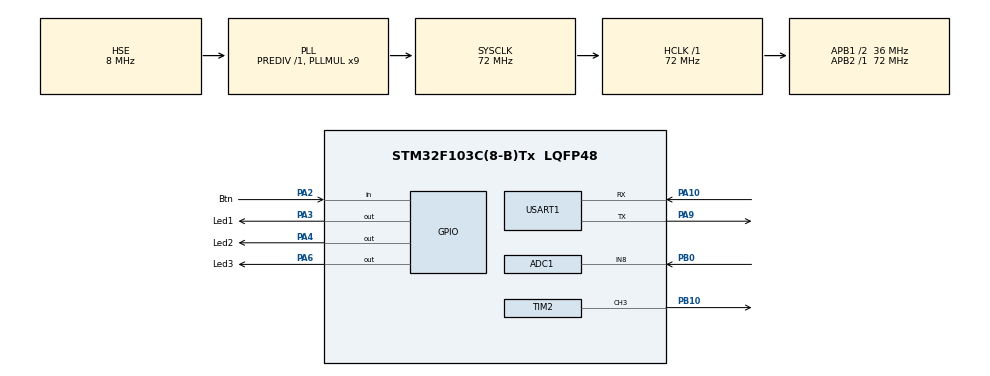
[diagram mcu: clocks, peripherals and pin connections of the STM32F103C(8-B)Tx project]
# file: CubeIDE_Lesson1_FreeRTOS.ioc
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ADC1.Channel-1\#ChannelRegularConversion=ADC_CHANNEL_8
ADC1.ContinuousConvMode=ENABLE
ADC1.NbrOfConversionFlag=1
ADC1.Rank-1\#ChannelRegularConversion=1
ADC1.SamplingTime-1\#ChannelRegularConversion=ADC_SAMPLETIME_1CYCLE_5
ADC1.master=1
FREERTOS.BinarySemaphores01=BtnSem,Static,BtnSemControlBlock
FREERTOS.Queues01=Uart_Queue,10,QUEUE_t,0,Static,Uart_QueueBuffer,Uart_QueueControlBlock
FREERTOS.Tasks01=defaultTask,24,128,StartDefaultTask,Default,NULL,Static,defaultTaskBuffer,defaultTaskControlBlock;Led1_Task,8,128,StartLed1_Task,Default,NULL,Static,Led1_TaskBuffer,Led1_TaskControlBlock;Led2_Task,8,128,StartLed2_Task,Default,NULL,Static,Led2_TaskBuffer,Led2_TaskControlBlock;ReadBtn_Task,8,128,StartReadBtn_Task,Default,NULL,Static,ReadBtn_TaskBuffer,ReadBtn_TaskControlBlock;Led3_Task,8,128,StartLed3_Task,Default,NULL,Static,Led3_TaskBuffer,Led3_TaskControlBlock;ADC_Task,8,128,StartADC_Task,Default,NULL,Static,ADC_TaskBuffer,ADC_TaskControlBlock;UART_Task,8,128,StartUART_Task,Default,NULL,Static,UART_TaskBuffer,UART_TaskControlBlock
Mcu.Family=STM32F1
Mcu.Name=STM32F103C(8-B)Tx
Mcu.Package=LQFP48
NVIC.PriorityGroup=NVIC_PRIORITYGROUP_4
NVIC.TIM1_UP_IRQn=true\:15\:0\:false\:false\:true\:false\:false\:true\:true
NVIC.TimeBase=TIM1_UP_IRQn
NVIC.TimeBaseIP=TIM1
PA10.Mode=Asynchronous
PA10.Signal=USART1_RX
PA13.Mode=Serial_Wire
PA13.Signal=SYS_JTMS-SWDIO
PA14.Mode=Serial_Wire
PA14.Signal=SYS_JTCK-SWCLK
PA2.GPIO_Label=Btn
PA2.Signal=GPIO_Input
PA3.GPIO_Label=Led1
PA3.Signal=GPIO_Output
PA4.GPIO_Label=Led2
PA4.Signal=GPIO_Output
PA6.GPIO_Label=Led3
PA6.Signal=GPIO_Output
PA9.Mode=Asynchronous
PA9.Signal=USART1_TX
PB0.Signal=ADCx_IN8
PB10.Signal=S_TIM2_CH3
PD0-OSC_IN.Mode=HSE-External-Oscillator
PD0-OSC_IN.Signal=RCC_OSC_IN
PD1-OSC_OUT.Mode=HSE-External-Oscillator
PD1-OSC_OUT.Signal=RCC_OSC_OUT
ProjectManager.HeapSize=0x200
ProjectManager.StackSize=0x400
ProjectManager.TargetToolchain=STM32CubeIDE
RCC.ADCPresc=RCC_ADCPCLK2_DIV6
RCC.AHBFreq_Value=72000000
RCC.APB1CLKDivider=RCC_HCLK_DIV2
RCC.APB1Freq_Value=36000000
RCC.APB1TimFreq_Value=72000000
RCC.APB2Freq_Value=72000000
RCC.APB2TimFreq_Value=72000000
RCC.HCLKFreq_Value=72000000
RCC.PLLMUL=RCC_PLL_MUL9
RCC.PLLSourceVirtual=RCC_PLLSOURCE_HSE
RCC.SYSCLKFreq_VALUE=72000000
RCC.SYSCLKSource=RCC_SYSCLKSOURCE_PLLCLK
RCC.USBFreq_Value=72000000
SH.ADCx_IN8.0=ADC1_IN8,IN8
SH.S_TIM2_CH3.0=TIM2_CH3,PWM Generation3 CH3
TIM2.Channel-PWM\ Generation3\ CH3=TIM_CHANNEL_3
TIM2.Period=4095
TIM2.Prescaler=300
USART1.VirtualMode=VM_ASYNC
VP_FREERTOS_VS_CMSIS_V2.Mode=CMSIS_V2
VP_SYS_VS_tim1.Mode=TIM1
board=custom

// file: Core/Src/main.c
/* USER CODE BEGIN Header */
/**
  ******************************************************************************
  * @file           : main.c
  * @brief          : Main program body
  ******************************************************************************
  * @attention
  *
  * Copyright (c) 2023 STMicroelectronics.
  * All rights reserved.
  *
  * This software is licensed under terms that can be found in the LICENSE file
  * in the root directory of this software component.
  * If no LICENSE file comes with this software, it is provided AS-IS.
  *
  ******************************************************************************
  */
/* USER CODE END Header */
#include "main.h"
#include "cmsis_os.h"

/* USER CODE BEGIN Includes */
#include "string.h"
/* USER CODE END Includes */

typedef StaticTask_t osStaticThreadDef_t;
typedef StaticQueue_t osStaticMessageQDef_t;
typedef StaticSemaphore_t osStaticSemaphoreDef_t;
/* USER CODE BEGIN PTD */

//Создаем наш тип данных для передачи по UART
typedef struct {
	char Buf[128];
	} QUEUE_t;

/* USER CODE END PTD */

ADC_HandleTypeDef hadc1;

TIM_HandleTypeDef htim2;

UART_HandleTypeDef huart1;

/* Definitions for defaultTask */
osThreadId_t defaultTaskHandle;
uint32_t defaultTaskBuffer[ 128 ];
osStaticThreadDef_t defaultTaskControlBlock;
const osThreadAttr_t defaultTask_attributes = {
  .name = "defaultTask",
  .cb_mem = &defaultTaskControlBlock,
  .cb_size = sizeof(defaultTaskControlBlock),
  .stack_mem = &defaultTaskBuffer[0],
  .stack_size = sizeof(defaultTaskBuffer),
  .priority = (osPriority_t) osPriorityNormal,
};
/* Definitions for Led1_Task */
osThreadId_t Led1_TaskHandle;
uint32_t Led1_TaskBuffer[ 128 ];
osStaticThreadDef_t Led1_TaskControlBlock;
const osThreadAttr_t Led1_Task_attributes = {
  .name = "Led1_Task",
  .cb_mem = &Led1_TaskControlBlock,
  .cb_size = sizeof(Led1_TaskControlBlock),
  .stack_mem = &Led1_TaskBuffer[0],
  .stack_size = sizeof(Led1_TaskBuffer),
  .priority = (osPriority_t) osPriorityLow,
};
/* Definitions for Led2_Task */
osThreadId_t Led2_TaskHandle;
uint32_t Led2_TaskBuffer[ 128 ];
osStaticThreadDef_t Led2_TaskControlBlock;
const osThreadAttr_t Led2_Task_attributes = {
  .name = "Led2_Task",
  .cb_mem = &Led2_TaskControlBlock,
  .cb_size = sizeof(Led2_TaskControlBlock),
  .stack_mem = &Led2_TaskBuffer[0],
  .stack_size = sizeof(Led2_TaskBuffer),
  .priority = (osPriority_t) osPriorityLow,
};
/* Definitions for ReadBtn_Task */
osThreadId_t ReadBtn_TaskHandle;
uint32_t ReadBtn_TaskBuffer[ 128 ];
osStaticThreadDef_t ReadBtn_TaskControlBlock;
const osThreadAttr_t ReadBtn_Task_attributes = {
  .name = "ReadBtn_Task",
  .cb_mem = &ReadBtn_TaskControlBlock,
  .cb_size = sizeof(ReadBtn_TaskControlBlock),
  .stack_mem = &ReadBtn_TaskBuffer[0],
  .stack_size = sizeof(ReadBtn_TaskBuffer),
  .priority = (osPriority_t) osPriorityLow,
};
/* Definitions for Led3_Task */
osThreadId_t Led3_TaskHandle;
uint32_t Led3_TaskBuffer[ 128 ];
osStaticThreadDef_t Led3_TaskControlBlock;
const osThreadAttr_t Led3_Task_attributes = {
  .name = "Led3_Task",
  .cb_mem = &Led3_TaskControlBlock,
  .cb_size = sizeof(Led3_TaskControlBlock),
  .stack_mem = &Led3_TaskBuffer[0],
  .stack_size = sizeof(Led3_TaskBuffer),
  .priority = (osPriority_t) osPriorityLow,
};
/* Definitions for ADC_Task */
osThreadId_t ADC_TaskHandle;
uint32_t ADC_TaskBuffer[ 128 ];
osStaticThreadDef_t ADC_TaskControlBlock;
const osThreadAttr_t ADC_Task_attributes = {
  .name = "ADC_Task",
  .cb_mem = &ADC_TaskControlBlock,
  .cb_size = sizeof(ADC_TaskControlBlock),
  .stack_mem = &ADC_TaskBuffer[0],
  .stack_size = sizeof(ADC_TaskBuffer),
  .priority = (osPriority_t) osPriorityLow,
};
/* Definitions for UART_Task */
osThreadId_t UART_TaskHandle;
uint32_t UART_TaskBuffer[ 128 ];
osStaticThreadDef_t UART_TaskControlBlock;
const osThreadAttr_t UART_Task_attributes = {
  .name = "UART_Task",
  .cb_mem = &UART_TaskControlBlock,
  .cb_size = sizeof(UART_TaskControlBlock),
  .stack_mem = &UART_TaskBuffer[0],
  .stack_size = sizeof(UART_TaskBuffer),
  .priority = (osPriority_t) osPriorityLow,
};
/* Definitions for Uart_Queue */
osMessageQueueId_t Uart_QueueHandle;
uint8_t Uart_QueueBuffer[ 10 * sizeof( QUEUE_t ) ];
osStaticMessageQDef_t Uart_QueueControlBlock;
const osMessageQueueAttr_t Uart_Queue_attributes = {
  .name = "Uart_Queue",
  .cb_mem = &Uart_QueueControlBlock,
  .cb_size = sizeof(Uart_QueueControlBlock),
  .mq_mem = &Uart_QueueBuffer,
  .mq_size = sizeof(Uart_QueueBuffer)
};
/* Definitions for BtnSem */
osSemaphoreId_t BtnSemHandle;
osStaticSemaphoreDef_t BtnSemControlBlock;
const osSemaphoreAttr_t BtnSem_attributes = {
  .name = "BtnSem",
  .cb_mem = &BtnSemControlBlock,
  .cb_size = sizeof(BtnSemControlBlock),
};

void SystemClock_Config(void);
static void MX_GPIO_Init(void);
static void MX_TIM2_Init(void);
static void MX_USART1_UART_Init(void);
static void MX_ADC1_Init(void);
void StartDefaultTask(void *argument);
void StartLed1_Task(void *argument);
void StartLed2_Task(void *argument);
void StartReadBtn_Task(void *argument);
void StartLed3_Task(void *argument);
void StartADC_Task(void *argument);
void StartUART_Task(void *argument);

int main(void)
{

  /* MCU Configuration--------------------------------------------------------*/

  /* Reset of all peripherals, Initializes the Flash interface and the Systick. */
  HAL_Init();

  /* Configure the system clock */
  SystemClock_Config();

  /* Initialize all configured peripherals */
  MX_GPIO_Init();
  MX_TIM2_Init();
  MX_USART1_UART_Init();
  MX_ADC1_Init();
  /* USER CODE BEGIN 2 */

  HAL_ADC_Start(&hadc1);
  HAL_TIM_PWM_Start(&htim2, TIM_CHANNEL_3);
  /* USER CODE END 2 */

  /* Init scheduler */
  osKernelInitialize();

  /* Create the semaphores(s) */
  /* creation of BtnSem */
  BtnSemHandle = osSemaphoreNew(1, 0, &BtnSem_attributes);

  /* Create the queue(s) */
  /* creation of Uart_Queue */
  Uart_QueueHandle = osMessageQueueNew (10, sizeof(QUEUE_t), &Uart_Queue_attributes);

  /* Create the thread(s) */
  /* creation of defaultTask */
  defaultTaskHandle = osThreadNew(StartDefaultTask, NULL, &defaultTask_attributes);

  /* creation of Led1_Task */
  Led1_TaskHandle = osThreadNew(StartLed1_Task, NULL, &Led1_Task_attributes);

  /* creation of Led2_Task */
  Led2_TaskHandle = osThreadNew(StartLed2_Task, NULL, &Led2_Task_attributes);

  /* creation of ReadBtn_Task */
  ReadBtn_TaskHandle = osThreadNew(StartReadBtn_Task, NULL, &ReadBtn_Task_attributes);

  /* creation of Led3_Task */
  Led3_TaskHandle = osThreadNew(StartLed3_Task, NULL, &Led3_Task_attributes);

  /* creation of ADC_Task */
  ADC_TaskHandle = osThreadNew(StartADC_Task, NULL, &ADC_Task_attributes);

  /* creation of UART_Task */
  UART_TaskHandle = osThreadNew(StartUART_Task, NULL, &UART_Task_attributes);

  /* Start scheduler */
  osKernelStart();
  /* We should never get here as control is now taken by the scheduler */
  /* Infinite loop */
  while (1)
  {

  }
}

void SystemClock_Config(void)
{
  RCC_OscInitTypeDef RCC_OscInitStruct = {0};
  RCC_ClkInitTypeDef RCC_ClkInitStruct = {0};
  RCC_PeriphCLKInitTypeDef PeriphClkInit = {0};

  /** Initializes the RCC Oscillators according to the specified parameters
  * in the RCC_OscInitTypeDef structure.
  */
  RCC_OscInitStruct.OscillatorType = RCC_OSCILLATORTYPE_HSE;
  RCC_OscInitStruct.HSEState = RCC_HSE_ON;
  RCC_OscInitStruct.HSEPredivValue = RCC_HSE_PREDIV_DIV1;
  RCC_OscInitStruct.HSIState = RCC_HSI_ON;
  RCC_OscInitStruct.PLL.PLLState = RCC_PLL_ON;
  RCC_OscInitStruct.PLL.PLLSource = RCC_PLLSOURCE_HSE;
  RCC_OscInitStruct.PLL.PLLMUL = RCC_PLL_MUL9;
  if (HAL_RCC_OscConfig(&RCC_OscInitStruct) != HAL_OK)
  {
    Error_Handler();
  }

  /** Initializes the CPU, AHB and APB buses clocks
  */
  RCC_ClkInitStruct.ClockType = RCC_CLOCKTYPE_HCLK|RCC_CLOCKTYPE_SYSCLK
                              |RCC_CLOCKTYPE_PCLK1|RCC_CLOCKTYPE_PCLK2;
  RCC_ClkInitStruct.SYSCLKSource = RCC_SYSCLKSOURCE_PLLCLK;
  RCC_ClkInitStruct.AHBCLKDivider = RCC_SYSCLK_DIV1;
  RCC_ClkInitStruct.APB1CLKDivider = RCC_HCLK_DIV2;
  RCC_ClkInitStruct.APB2CLKDivider = RCC_HCLK_DIV1;

  if (HAL_RCC_ClockConfig(&RCC_ClkInitStruct, FLASH_LATENCY_2) != HAL_OK)
  {
    Error_Handler();
  }
  PeriphClkInit.PeriphClockSelection = RCC_PERIPHCLK_ADC;
  PeriphClkInit.AdcClockSelection = RCC_ADCPCLK2_DIV6;
  if (HAL_RCCEx_PeriphCLKConfig(&PeriphClkInit) != HAL_OK)
  {
    Error_Handler();
  }
}

static void MX_ADC1_Init(void)
{

  ADC_ChannelConfTypeDef sConfig = {0};

  /** Common config
  */
  hadc1.Instance = ADC1;
  hadc1.Init.ScanConvMode = ADC_SCAN_DISABLE;
  hadc1.Init.ContinuousConvMode = ENABLE;
  hadc1.Init.DiscontinuousConvMode = DISABLE;
  hadc1.Init.ExternalTrigConv = ADC_SOFTWARE_START;
  hadc1.Init.DataAlign = ADC_DATAALIGN_RIGHT;
  hadc1.Init.NbrOfConversion = 1;
  if (HAL_ADC_Init(&hadc1) != HAL_OK)
  {
    Error_Handler();
  }

  /** Configure Regular Channel
  */
  sConfig.Channel = ADC_CHANNEL_8;
  sConfig.Rank = ADC_REGULAR_RANK_1;
  sConfig.SamplingTime = ADC_SAMPLETIME_1CYCLE_5;
  if (HAL_ADC_ConfigChannel(&hadc1, &sConfig) != HAL_OK)
  {
    Error_Handler();
  }

}

static void MX_TIM2_Init(void)
{

  TIM_MasterConfigTypeDef sMasterConfig = {0};
  TIM_OC_InitTypeDef sConfigOC = {0};

  htim2.Instance = TIM2;
  htim2.Init.Prescaler = 300;
  htim2.Init.CounterMode = TIM_COUNTERMODE_UP;
  htim2.Init.Period = 4095;
  htim2.Init.ClockDivision = TIM_CLOCKDIVISION_DIV1;
  htim2.Init.AutoReloadPreload = TIM_AUTORELOAD_PRELOAD_DISABLE;
  if (HAL_TIM_PWM_Init(&htim2) != HAL_OK)
  {
    Error_Handler();
  }
  sMasterConfig.MasterOutputTrigger = TIM_TRGO_RESET;
  sMasterConfig.MasterSlaveMode = TIM_MASTERSLAVEMODE_DISABLE;
  if (HAL_TIMEx_MasterConfigSynchronization(&htim2, &sMasterConfig) != HAL_OK)
  {
    Error_Handler();
  }
  sConfigOC.OCMode = TIM_OCMODE_PWM1;
  sConfigOC.Pulse = 0;
  sConfigOC.OCPolarity = TIM_OCPOLARITY_HIGH;
  sConfigOC.OCFastMode = TIM_OCFAST_DISABLE;
  if (HAL_TIM_PWM_ConfigChannel(&htim2, &sConfigOC, TIM_CHANNEL_3) != HAL_OK)
  {
    Error_Handler();
  }
  HAL_TIM_MspPostInit(&htim2);

}

static void MX_USART1_UART_Init(void)
{

  huart1.Instance = USART1;
  huart1.Init.BaudRate = 115200;
  huart1.Init.WordLength = UART_WORDLENGTH_8B;
  huart1.Init.StopBits = UART_STOPBITS_1;
  huart1.Init.Parity = UART_PARITY_NONE;
  huart1.Init.Mode = UART_MODE_TX_RX;
  huart1.Init.HwFlowCtl = UART_HWCONTROL_NONE;
  huart1.Init.OverSampling = UART_OVERSAMPLING_16;
  if (HAL_UART_Init(&huart1) != HAL_OK)
  {
    Error_Handler();
  }

}

static void MX_GPIO_Init(void)
{
  GPIO_InitTypeDef GPIO_InitStruct = {0};

  /* GPIO Ports Clock Enable */
  __HAL_RCC_GPIOD_CLK_ENABLE();
  __HAL_RCC_GPIOA_CLK_ENABLE();
  __HAL_RCC_GPIOB_CLK_ENABLE();

  /*Configure GPIO pin Output Level */
  HAL_GPIO_WritePin(GPIOA, Led1_Pin|Led2_Pin|Led3_Pin, GPIO_PIN_RESET);

  /*Configure GPIO pin : Btn_Pin */
  GPIO_InitStruct.Pin = Btn_Pin;
  GPIO_InitStruct.Mode = GPIO_MODE_INPUT;
  GPIO_InitStruct.Pull = GPIO_NOPULL;
  HAL_GPIO_Init(Btn_GPIO_Port, &GPIO_InitStruct);

  /*Configure GPIO pins : Led1_Pin Led2_Pin Led3_Pin */
  GPIO_InitStruct.Pin = Led1_Pin|Led2_Pin|Led3_Pin;
  GPIO_InitStruct.Mode = GPIO_MODE_OUTPUT_PP;
  GPIO_InitStruct.Pull = GPIO_NOPULL;
  GPIO_InitStruct.Speed = GPIO_SPEED_FREQ_LOW;
  HAL_GPIO_Init(GPIOA, &GPIO_InitStruct);

}

void StartDefaultTask(void *argument)
{
  for(;;)
  {
    osDelay(1);
  }
}

void StartLed1_Task(void *argument)
{
  /* USER CODE BEGIN StartLed1_Task */
  /* Infinite loop */
  for(;;)
  {
	HAL_GPIO_TogglePin(Led1_GPIO_Port, Led1_Pin);
    osDelay(100);
  }
  /* USER CODE END StartLed1_Task */
}

void StartLed2_Task(void *argument)
{
  /* USER CODE BEGIN StartLed2_Task */
	QUEUE_t msg;
  /* Infinite loop */
  for(;;)
  {
	  HAL_GPIO_TogglePin(Led2_GPIO_Port, Led2_Pin);
	  strcpy(msg.Buf,"Led2 blink with delay 100mc\r\n\0");
	  osMessageQueuePut(Uart_QueueHandle, &msg,0 , osWaitForever);				//Отправляем строку в очередь
	  osDelay(100);
  }
  /* USER CODE END StartLed2_Task */
}

void StartReadBtn_Task(void *argument)
{
  /* USER CODE BEGIN StartReadBtn_Task */
	QUEUE_t message;
  /* Infinite loop */
  for(;;)
  {
	if(HAL_GPIO_ReadPin(Btn_GPIO_Port, Btn_Pin))
		{
			osSemaphoreRelease(BtnSemHandle); //Даем семафору 1
			strcpy(message.Buf, "Btn presses\r\n\0"); //
			osMessageQueuePut(Uart_QueueHandle, &message,0 , osWaitForever);		//Отправляем строку в очередь
		}
    osDelay(100);
  }
  /* USER CODE END StartReadBtn_Task */
}

void StartLed3_Task(void *argument)
{
  /* USER CODE BEGIN StartLed3_Task */
  /* Infinite loop */
  for(;;)
  {
	if(osSemaphoreAcquire(BtnSemHandle, osWaitForever) == osOK) // osWaitForever -  бесконечное ожидание
		{
		HAL_GPIO_TogglePin(Led3_GPIO_Port, Led3_Pin);
		}
    osDelay(1000);
  }
  /* USER CODE END StartLed3_Task */
}

void StartADC_Task(void *argument)
{
  /* USER CODE BEGIN StartADC_Task */
	QUEUE_t adc_msg;
  /* Infinite loop */
  for(;;)
  {
	uint16_t adc_res = HAL_ADC_GetValue(&hadc1); 			// записывае значение с АЦП
	__HAL_TIM_SET_COMPARE(&htim2, TIM_CHANNEL_3,adc_res);	// передаем значение adc_res в модуль ШИМ (Таймер 2, канал 3)

	if(adc_res == 0)
		{
			strcpy(adc_msg.Buf, "Value ADC = 0\r\n\0");
			osMessageQueuePut(Uart_QueueHandle, &adc_msg,0 , osWaitForever);//Отправляем строку в очередь
			osDelay(200);
		}
	else if(adc_res >= 4000)
		{
			strcpy(adc_msg.Buf, "Value ADC is max\r\n\0");
			osMessageQueuePut(Uart_QueueHandle, &adc_msg,0 , osWaitForever);//Отправляем строку в очередь
			osDelay(200);
		}
    osDelay(100);
  }
  /* USER CODE END StartADC_Task */
}

void StartUART_Task(void *argument)
{
  /* USER CODE BEGIN StartUART_Task */
	QUEUE_t message;
  /* Infinite loop */
  for(;;)
  {
	osMessageQueueGet(Uart_QueueHandle, &message, 0 , osWaitForever);	//
	HAL_UART_Transmit(&huart1, (uint8_t*)message.Buf, strlen(message.Buf), osWaitForever);//Отправляем полученные данные по UART
    osDelay(1);
  }
  /* USER CODE END StartUART_Task */
}

void HAL_TIM_PeriodElapsedCallback(TIM_HandleTypeDef *htim)
{
  if (htim->Instance == TIM1) {
    HAL_IncTick();
  }
}

void Error_Handler(void)
{
  __disable_irq();
  while (1)
  {
  }
}
